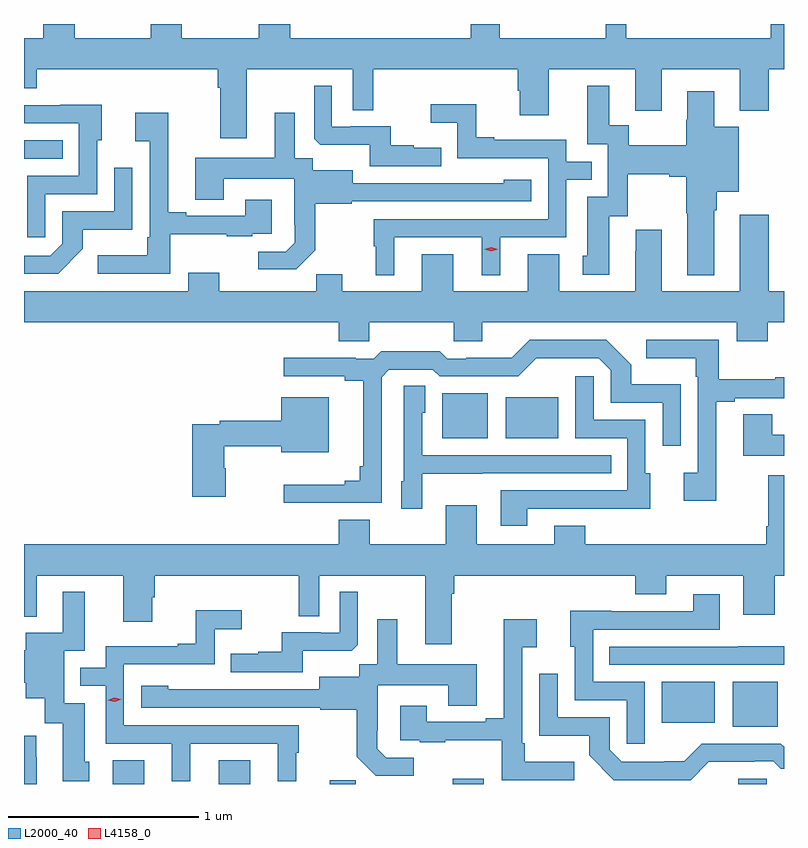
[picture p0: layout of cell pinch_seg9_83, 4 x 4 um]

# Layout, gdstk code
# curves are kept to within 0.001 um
import gdstk
lib = gdstk.Library(unit=1e-6, precision=1e-09)
def R(c, l, rs):  # rectangles x0, y0, x1, y1
    for r in rs: c.add(gdstk.rectangle(r[:2], r[2:], *l))
def P(c, l, *ps):  # polygons
    for p in ps: c.add(gdstk.Polygon(p, *l))
L2000_40 = (2000, 40)
L4158_0 = (4158, 0)

pinch_seg9_83 = lib.new_cell('pinch_seg9_83')
R(pinch_seg9_83, L2000_40, [(1113.077,1196.655,1113.241,1196.779), (1113.635,1196.655,1113.799,1196.779), (1114.217,1196.655,1114.355,1196.675), (1114.865,1196.655,1115.029,1196.683), (1116.368,1196.655,1116.519,1196.682), (1116.338,1196.957,1116.577,1197.193), (1115.966,1196.978,1116.244,1197.193), (1114.811,1198.475,1115.05,1198.711), (1115.144,1198.475,1115.422,1198.69), (1112.609,1199.946,1112.813,1200.042)])
P(pinch_seg9_83, L2000_40, [(1113.781,1200.416),(1114.338,1200.416),(1114.338,1200.202),(1114.447,1200.202),(1114.447,1200.416),(1115.207,1200.416),(1115.207,1200.303),(1115.219,1200.303),(1115.219,1200.174),(1115.371,1200.174),(1115.371,1200.416),(1115.825,1200.416),(1115.825,1200.198),(1115.965,1200.198),(1115.965,1200.416),(1116.377,1200.416),(1116.377,1200.198),(1116.53,1200.198),(1116.53,1200.416),(1116.609,1200.416),(1116.609,1200.655),(1116.539,1200.655),(1116.539,1200.58),(1115.779,1200.58),(1115.779,1200.655),(1115.67,1200.655),(1115.67,1200.58),(1115.113,1200.58),(1115.113,1200.655),(1114.961,1200.655),(1114.961,1200.58),(1114.009,1200.58),(1114.009,1200.655),(1113.845,1200.655),(1113.845,1200.58),(1113.439,1200.58),(1113.439,1200.655),(1113.275,1200.655),(1113.275,1200.58),(1112.875,1200.58),(1112.875,1200.655),(1112.711,1200.655),(1112.711,1200.58),(1112.609,1200.58),(1112.609,1200.317),(1112.677,1200.317),(1112.677,1200.416),(1113.629,1200.416),(1113.629,1200.32),(1113.641,1200.32),(1113.641,1200.054),(1113.781,1200.054)],
  [(1116.241,1199.675),(1116.254,1199.675),(1116.254,1199.771),(1116.37,1199.771),(1116.37,1200.113),(1116.241,1200.113),(1116.241,1200.301),(1116.101,1200.301),(1116.101,1200.15),(1116.094,1200.15),(1116.094,1200.016),(1115.791,1200.016),(1115.791,1200.122),(1115.689,1200.122),(1115.689,1200.331),(1115.573,1200.331),(1115.573,1200.021),(1115.682,1200.021),(1115.682,1199.745),(1115.573,1199.745),(1115.573,1199.436),(1115.549,1199.436),(1115.549,1199.334),(1115.689,1199.334),(1115.689,1199.642),(1115.787,1199.642),(1115.787,1199.864),(1116.005,1199.864),(1116.005,1199.852),(1116.094,1199.852),(1116.094,1199.659),(1116.101,1199.659),(1116.101,1199.333),(1116.241,1199.333)],
  [(1114.805,1200.004),(1114.661,1200.004),(1114.661,1200.016),(1114.538,1200.016),(1114.538,1200.117),(1114.33,1200.117),(1114.33,1200.114),(1114.23,1200.114),(1114.23,1200.331),(1114.137,1200.331),(1114.137,1200.051),(1114.169,1200.02),(1114.428,1200.02),(1114.428,1199.907),(1114.805,1199.907)],
  [(1114.558,1199.532),(1115.018,1199.532),(1115.018,1199.333),(1115.116,1199.333),(1115.116,1199.532),(1115.463,1199.532),(1115.463,1199.835),(1115.597,1199.835),(1115.597,1199.931),(1115.463,1199.931),(1115.463,1200.045),(1115.083,1200.045),(1115.083,1200.058),(1114.989,1200.058),(1114.989,1200.233),(1114.749,1200.233),(1114.749,1200.134),(1114.89,1200.134),(1114.89,1199.949),(1115.367,1199.949),(1115.367,1199.628),(1114.449,1199.628),(1114.449,1199.484),(1114.46,1199.484),(1114.46,1199.333),(1114.558,1199.333)],
  [(1112.721,1199.76),(1112.994,1199.76),(1112.994,1200.042),(1113.019,1200.042),(1113.019,1200.23),(1112.801,1200.23),(1112.801,1200.228),(1112.609,1200.228),(1112.609,1200.132),(1112.898,1200.132),(1112.898,1199.856),(1112.625,1199.856),(1112.625,1199.532),(1112.721,1199.532)],
  [(1113.379,1199.549),(1113.677,1199.549),(1113.677,1199.538),(1113.809,1199.538),(1113.809,1199.55),(1113.913,1199.55),(1113.913,1199.731),(1113.773,1199.731),(1113.773,1199.646),(1113.463,1199.646),(1113.463,1199.665),(1113.367,1199.665),(1113.367,1200.187),(1113.195,1200.187),(1113.195,1200.038),(1113.27,1200.038),(1113.27,1199.533),(1113.258,1199.533),(1113.258,1199.437),(1112.997,1199.437),(1112.997,1199.34),(1113.379,1199.34)],
  [(1114.143,1199.463),(1114.143,1199.709),(1114.335,1199.709),(1114.335,1199.721),(1115.278,1199.721),(1115.278,1199.836),(1115.133,1199.836),(1115.133,1199.818),(1114.339,1199.817),(1114.339,1199.884),(1114.128,1199.884),(1114.128,1199.948),(1114.033,1199.948),(1114.033,1200.187),(1113.929,1200.187),(1113.929,1199.95),(1113.509,1199.95),(1113.509,1199.731),(1113.661,1199.731),(1113.661,1199.84),(1114.032,1199.84),(1114.032,1199.599),(1114.034,1199.599),(1114.034,1199.504),(1113.987,1199.457),(1113.843,1199.457),(1113.843,1199.363),(1114.043,1199.363)],
  [(1112.919,1199.471),(1112.919,1199.573),(1113.18,1199.573),(1113.18,1199.899),(1113.084,1199.899),(1113.084,1199.67),(1112.811,1199.67),(1112.811,1199.499),(1112.748,1199.436),(1112.609,1199.436),(1112.609,1199.34),(1112.788,1199.34)],
  [(1116.359,1198.985),(1116.523,1198.985),(1116.523,1199.084),(1116.609,1199.084),(1116.609,1199.248),(1116.53,1199.248),(1116.53,1199.65),(1116.377,1199.65),(1116.377,1199.248),(1115.965,1199.248),(1115.965,1199.572),(1115.828,1199.572),(1115.828,1199.459),(1115.825,1199.459),(1115.825,1199.248),(1115.425,1199.248),(1115.425,1199.443),(1115.261,1199.443),(1115.261,1199.248),(1114.867,1199.248),(1114.867,1199.443),(1114.703,1199.443),(1114.703,1199.248),(1114.285,1199.248),(1114.285,1199.339),(1114.147,1199.339),(1114.147,1199.248),(1113.637,1199.248),(1113.637,1199.347),(1113.473,1199.347),(1113.473,1199.248),(1112.609,1199.248),(1112.609,1199.084),(1114.265,1199.084),(1114.265,1198.986),(1114.425,1198.986),(1114.425,1199.084),(1114.87,1199.084),(1114.87,1198.986),(1115.02,1198.986),(1115.02,1199.084),(1116.359,1199.084)],
  [(1114.491,1198.797),(1114.53,1198.836),(1114.761,1198.836),(1114.797,1198.8),(1115.211,1198.8),(1115.306,1198.895),(1115.634,1198.896),(1115.697,1198.833),(1115.697,1198.662),(1115.97,1198.662),(1115.97,1198.434),(1116.066,1198.434),(1116.066,1198.759),(1115.805,1198.759),(1115.805,1198.862),(1115.674,1198.992),(1115.271,1198.992),(1115.177,1198.898),(1114.936,1198.898),(1114.936,1198.893),(1114.836,1198.893),(1114.797,1198.933),(1114.489,1198.933),(1114.449,1198.893),(1114.355,1198.893),(1114.355,1198.898),(1113.975,1198.898),(1113.975,1198.8),(1114.298,1198.8),(1114.298,1198.778),(1114.394,1198.778),(1114.394,1198.327),(1114.375,1198.327),(1114.375,1198.25),(1114.298,1198.25),(1114.298,1198.231),(1113.975,1198.231),(1113.975,1198.134),(1114.491,1198.134)],
  [(1116.253,1198.668),(1116.349,1198.668),(1116.349,1198.686),(1116.609,1198.686),(1116.609,1198.795),(1116.563,1198.795),(1116.563,1198.784),(1116.265,1198.784),(1116.265,1198.992),(1115.883,1198.992),(1115.883,1198.895),(1116.144,1198.895),(1116.144,1198.799),(1116.156,1198.799),(1116.156,1198.294),(1116.081,1198.294),(1116.081,1198.146),(1116.253,1198.146)],
  [(1115.257,1198.104),(1115.687,1198.104),(1115.687,1198.103),(1115.905,1198.103),(1115.905,1198.29),(1115.88,1198.29),(1115.88,1198.572),(1115.607,1198.572),(1115.607,1198.801),(1115.511,1198.801),(1115.511,1198.476),(1115.784,1198.476),(1115.784,1198.2),(1115.117,1198.2),(1115.117,1198.014),(1115.257,1198.014)],
  [(1114.704,1198.289),(1115.021,1198.289),(1115.021,1198.29),(1115.699,1198.29),(1115.699,1198.386),(1114.704,1198.386),(1114.704,1198.608),(1114.72,1198.608),(1114.72,1198.751),(1114.608,1198.751),(1114.608,1198.248),(1114.595,1198.248),(1114.595,1198.104),(1114.704,1198.104)],
  [(1113.672,1198.317),(1113.664,1198.317),(1113.664,1198.432),(1113.962,1198.432),(1113.962,1198.4),(1114.213,1198.4),(1114.213,1198.69),(1113.962,1198.69),(1113.962,1198.568),(1113.64,1198.568),(1113.64,1198.548),(1113.494,1198.548),(1113.494,1198.167),(1113.672,1198.167)],
  [(1116.609,1198.492),(1116.547,1198.492),(1116.547,1198.601),(1116.395,1198.601),(1116.395,1198.382),(1116.609,1198.382)],
  [(1114.861,1197.656),(1114.874,1197.656),(1114.874,1197.752),(1115.825,1197.752),(1115.825,1197.653),(1115.989,1197.653),(1115.989,1197.752),(1116.395,1197.752),(1116.395,1197.546),(1116.559,1197.546),(1116.559,1197.752),(1116.609,1197.752),(1116.609,1198.279),(1116.527,1198.279),(1116.527,1198.012),(1116.515,1198.012),(1116.515,1197.916),(1115.563,1197.916),(1115.563,1198.015),(1115.399,1198.015),(1115.399,1197.916),(1114.993,1197.916),(1114.993,1198.123),(1114.829,1198.123),(1114.829,1197.916),(1114.429,1197.916),(1114.429,1198.045),(1114.265,1198.045),(1114.265,1197.916),(1112.609,1197.916),(1112.609,1197.536),(1112.677,1197.536),(1112.677,1197.752),(1113.131,1197.752),(1113.131,1197.51),(1113.283,1197.51),(1113.283,1197.639),(1113.296,1197.639),(1113.296,1197.752),(1114.056,1197.752),(1114.056,1197.538),(1114.164,1197.538),(1114.164,1197.752),(1114.721,1197.752),(1114.721,1197.39),(1114.861,1197.39)],
  [(1112.953,1196.772),(1112.929,1196.772),(1112.929,1197.081),(1112.82,1197.081),(1112.82,1197.357),(1112.929,1197.357),(1112.929,1197.667),(1112.813,1197.667),(1112.813,1197.451),(1112.618,1197.451),(1112.618,1197.36),(1112.609,1197.36),(1112.609,1197.188),(1112.618,1197.188),(1112.618,1197.107),(1112.717,1197.107),(1112.717,1196.976),(1112.813,1196.976),(1112.813,1196.67),(1112.953,1196.67)],
  [(1114.075,1197.356),(1114.333,1197.356),(1114.365,1197.387),(1114.365,1197.667),(1114.272,1197.667),(1114.272,1197.45),(1114.172,1197.45),(1114.172,1197.453),(1113.965,1197.453),(1113.965,1197.352),(1113.841,1197.352),(1113.841,1197.34),(1113.697,1197.34),(1113.697,1197.243),(1114.075,1197.243)],
  [(1115.877,1197.192),(1115.604,1197.192),(1115.604,1197.468),(1116.271,1197.468),(1116.271,1197.655),(1116.131,1197.655),(1116.131,1197.564),(1115.701,1197.564),(1115.701,1197.566),(1115.483,1197.566),(1115.483,1197.378),(1115.508,1197.378),(1115.508,1197.096),(1115.781,1197.096),(1115.781,1196.868),(1115.877,1196.868)],
  [(1113.484,1196.868),(1113.944,1196.868),(1113.944,1196.669),(1114.042,1196.669),(1114.042,1196.82),(1114.054,1196.82),(1114.054,1196.964),(1113.135,1196.964),(1113.135,1197.285),(1113.612,1197.285),(1113.612,1197.47),(1113.754,1197.47),(1113.754,1197.569),(1113.514,1197.569),(1113.514,1197.394),(1113.419,1197.394),(1113.419,1197.381),(1113.039,1197.381),(1113.039,1197.267),(1112.906,1197.267),(1112.906,1197.171),(1113.039,1197.171),(1113.039,1196.868),(1113.386,1196.868),(1113.386,1196.669),(1113.484,1196.669)],
  [(1115.506,1196.773),(1115.245,1196.773),(1115.245,1196.869),(1115.232,1196.869),(1115.232,1197.374),(1115.308,1197.374),(1115.308,1197.523),(1115.135,1197.523),(1115.135,1197.001),(1115.039,1197.001),(1115.039,1196.982),(1114.729,1196.982),(1114.729,1197.067),(1114.589,1197.067),(1114.589,1196.886),(1114.693,1196.886),(1114.693,1196.874),(1114.825,1196.874),(1114.825,1196.885),(1115.124,1196.885),(1115.124,1196.676),(1115.506,1196.676)],
  [(1114.66,1196.793),(1114.515,1196.793),(1114.468,1196.84),(1114.468,1196.935),(1114.47,1196.935),(1114.47,1197.176),(1114.841,1197.176),(1114.841,1197.067),(1114.993,1197.067),(1114.993,1197.286),(1114.573,1197.286),(1114.573,1197.523),(1114.469,1197.523),(1114.469,1197.284),(1114.374,1197.284),(1114.374,1197.22),(1114.163,1197.22),(1114.163,1197.153),(1113.369,1197.154),(1113.369,1197.172),(1113.225,1197.172),(1113.225,1197.057),(1114.167,1197.057),(1114.167,1197.045),(1114.359,1197.045),(1114.359,1196.799),(1114.459,1196.699),(1114.66,1196.699)],
  [(1116.609,1197.379),(1116.367,1197.379),(1116.367,1197.378),(1115.689,1197.378),(1115.689,1197.282),(1116.609,1197.282)],
  [(1116.212,1196.771),(1116.452,1196.771),(1116.452,1196.775),(1116.552,1196.775),(1116.592,1196.736),(1116.609,1196.736),(1116.609,1196.85),(1116.591,1196.868),(1116.177,1196.868),(1116.083,1196.774),(1115.978,1196.774),(1115.978,1196.772),(1115.754,1196.772),(1115.691,1196.835),(1115.691,1197.006),(1115.418,1197.006),(1115.418,1197.235),(1115.322,1197.235),(1115.322,1196.909),(1115.584,1196.909),(1115.584,1196.807),(1115.714,1196.676),(1116.117,1196.676)],
  [(1112.677,1196.795),(1112.674,1196.795),(1112.674,1196.908),(1112.609,1196.908),(1112.609,1196.655),(1112.677,1196.655)])
P(pinch_seg9_83, L4158_0, [(1115.067,1199.46),(1115.031,1199.47),(1115.031,1199.47),(1115.031,1199.47),(1115.067,1199.48),(1115.103,1199.47),(1115.103,1199.47),(1115.103,1199.47)],
  [(1113.086,1197.088),(1113.051,1197.096),(1113.05,1197.096),(1113.051,1197.097),(1113.084,1197.108),(1113.12,1197.101),(1113.12,1197.1),(1113.12,1197.1)])

lib.write_gds('pinch_seg9_83.gds')
